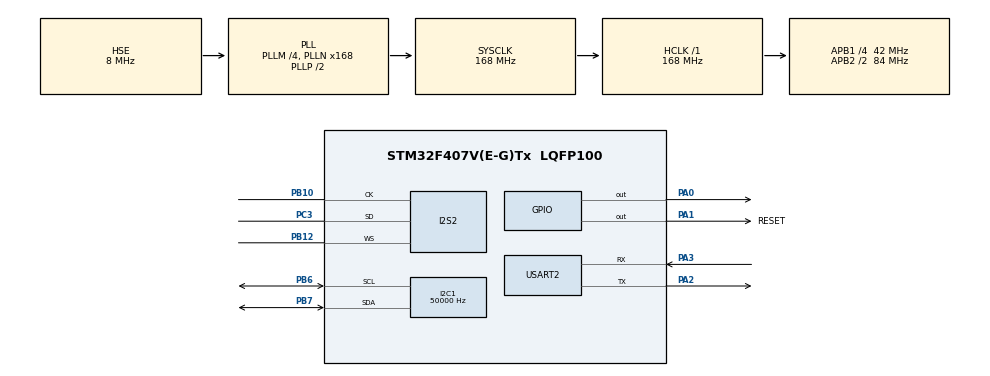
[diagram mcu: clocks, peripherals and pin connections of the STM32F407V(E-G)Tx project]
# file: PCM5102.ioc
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Dma.Request0=SPI2_TX
Dma.SPI2_TX.0.Direction=DMA_MEMORY_TO_PERIPH
Dma.SPI2_TX.0.FIFOMode=DMA_FIFOMODE_DISABLE
Dma.SPI2_TX.0.Instance=DMA1_Stream4
Dma.SPI2_TX.0.MemDataAlignment=DMA_MDATAALIGN_HALFWORD
Dma.SPI2_TX.0.MemInc=DMA_MINC_ENABLE
Dma.SPI2_TX.0.Mode=DMA_CIRCULAR
Dma.SPI2_TX.0.PeriphDataAlignment=DMA_PDATAALIGN_HALFWORD
Dma.SPI2_TX.0.PeriphInc=DMA_PINC_DISABLE
Dma.SPI2_TX.0.Priority=DMA_PRIORITY_LOW
I2C1.ClockSpeed=50000
I2S2.AudioFreq=I2S_AUDIOFREQ_96K
I2S2.CPOL=I2S_CPOL_HIGH
I2S2.ErrorAudioFreq=1.72 %
I2S2.FullDuplexMode=I2S_FULLDUPLEXMODE_DISABLE
I2S2.Instance=SPI$Index
I2S2.RealAudioFreq=97.656 KHz
I2S2.VirtualMode=I2S_MODE_MASTER
Mcu.Family=STM32F4
Mcu.Name=STM32F407V(E-G)Tx
Mcu.Package=LQFP100
NVIC.DMA1_Stream4_IRQn=true\:0\:0\:false\:false\:true\:false\:true\:true
NVIC.PriorityGroup=NVIC_PRIORITYGROUP_4
NVIC.SPI2_IRQn=true\:0\:0\:false\:false\:true\:true\:true\:true
PA0-WKUP.Signal=GPIO_Output
PA1.GPIO_Label=RESET
PA1.Signal=GPIO_Output
PA13.Mode=Serial_Wire
PA13.Signal=SYS_JTMS-SWDIO
PA14.Mode=Serial_Wire
PA14.Signal=SYS_JTCK-SWCLK
PA2.Mode=Asynchronous
PA2.Signal=USART2_TX
PA3.Mode=Asynchronous
PA3.Signal=USART2_RX
PB10.Mode=Half_Duplex_Master
PB10.Signal=I2S2_CK
PB12.Mode=Half_Duplex_Master
PB12.Signal=I2S2_WS
PB6.GPIO_Pu=GPIO_PULLUP
PB6.Mode=I2C
PB6.Signal=I2C1_SCL
PB7.GPIO_Pu=GPIO_PULLUP
PB7.Mode=I2C
PB7.Signal=I2C1_SDA
PC14-OSC32_IN.Mode=LSE-External-Oscillator
PC14-OSC32_IN.Signal=RCC_OSC32_IN
PC15-OSC32_OUT.Mode=LSE-External-Oscillator
PC15-OSC32_OUT.Signal=RCC_OSC32_OUT
PC3.Mode=Half_Duplex_Master
PC3.Signal=I2S2_SD
PH0-OSC_IN.Mode=HSE-External-Oscillator
PH0-OSC_IN.Signal=RCC_OSC_IN
PH1-OSC_OUT.Mode=HSE-External-Oscillator
PH1-OSC_OUT.Signal=RCC_OSC_OUT
ProjectManager.HeapSize=0x200
ProjectManager.StackSize=0x400
ProjectManager.TargetToolchain=MDK-ARM V5.32
RCC.48MHZClocksFreq_Value=84000000
RCC.AHBFreq_Value=168000000
RCC.APB1CLKDivider=RCC_HCLK_DIV4
RCC.APB1Freq_Value=42000000
RCC.APB1TimFreq_Value=84000000
RCC.APB2CLKDivider=RCC_HCLK_DIV2
RCC.APB2Freq_Value=84000000
RCC.APB2TimFreq_Value=168000000
RCC.CortexFreq_Value=168000000
RCC.HCLKFreq_Value=168000000
RCC.HSE_VALUE=8000000
RCC.HSI_VALUE=16000000
RCC.PLLI2SN=50
RCC.PLLM=4
RCC.PLLN=168
RCC.PLLSourceVirtual=RCC_PLLSOURCE_HSE
RCC.SYSCLKFreq_VALUE=168000000
RCC.SYSCLKSource=RCC_SYSCLKSOURCE_PLLCLK
RCC.VCOOutputFreq_Value=336000000
USART2.VirtualMode=VM_ASYNC
board=custom

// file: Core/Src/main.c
/* USER CODE BEGIN Header */
/**
  ******************************************************************************
  * @file           : main.c
  * @brief          : Main program body
  ******************************************************************************
  * @attention
  *
  * Copyright (c) 2026 STMicroelectronics.
  * All rights reserved.
  *
  * This software is licensed under terms that can be found in the LICENSE file
  * in the root directory of this software component.
  * If no LICENSE file comes with this software, it is provided AS-IS.
  *
  ******************************************************************************
  */
/* USER CODE END Header */
#include "main.h"
#include "dma.h"
#include "i2c.h"
#include "i2s.h"
#include "usart.h"
#include "gpio.h"

/* USER CODE BEGIN Includes */
#include "audio_out.h"
#include "sweep.h"
#include "cs43131.h"
#include <stdio.h>
#include "stdarg.h"
/* USER CODE END Includes */

void SystemClock_Config(void);

int main(void)
{

  /* MCU Configuration--------------------------------------------------------*/

  /* Reset of all peripherals, Initializes the Flash interface and the Systick. */
  HAL_Init();

  /* Configure the system clock */
  SystemClock_Config();

  /* Initialize all configured peripherals */
  MX_GPIO_Init();
  MX_DMA_Init();
  MX_I2S2_Init();
  MX_I2C1_Init();
  MX_USART2_UART_Init();
  /* USER CODE BEGIN 2 */

UART2_Printf("init\r\n");
  if (CS43131_Init() == 0) {
      UART2_Printf("fail\r\n");
  }

  Sweep_Init();
  Sweep_Start();

  /* USER CODE END 2 */

  /* Infinite loop */
  /* USER CODE BEGIN WHILE */
  while (1)
  {    if (g_sweep_cycle_done) {
        g_sweep_cycle_done = 0;
        UART2_Printf("restart\r\n");
    }

    /* USER CODE END WHILE */

  }
}

void SystemClock_Config(void)
{
  RCC_OscInitTypeDef RCC_OscInitStruct = {0};
  RCC_ClkInitTypeDef RCC_ClkInitStruct = {0};

  /** Configure the main internal regulator output voltage
  */
  __HAL_RCC_PWR_CLK_ENABLE();
  __HAL_PWR_VOLTAGESCALING_CONFIG(PWR_REGULATOR_VOLTAGE_SCALE1);

  /** Initializes the RCC Oscillators according to the specified parameters
  * in the RCC_OscInitTypeDef structure.
  */
  RCC_OscInitStruct.OscillatorType = RCC_OSCILLATORTYPE_HSE;
  RCC_OscInitStruct.HSEState = RCC_HSE_ON;
  RCC_OscInitStruct.PLL.PLLState = RCC_PLL_ON;
  RCC_OscInitStruct.PLL.PLLSource = RCC_PLLSOURCE_HSE;
  RCC_OscInitStruct.PLL.PLLM = 4;
  RCC_OscInitStruct.PLL.PLLN = 168;
  RCC_OscInitStruct.PLL.PLLP = RCC_PLLP_DIV2;
  RCC_OscInitStruct.PLL.PLLQ = 4;
  if (HAL_RCC_OscConfig(&RCC_OscInitStruct) != HAL_OK)
  {
    Error_Handler();
  }

  /** Initializes the CPU, AHB and APB buses clocks
  */
  RCC_ClkInitStruct.ClockType = RCC_CLOCKTYPE_HCLK|RCC_CLOCKTYPE_SYSCLK
                              |RCC_CLOCKTYPE_PCLK1|RCC_CLOCKTYPE_PCLK2;
  RCC_ClkInitStruct.SYSCLKSource = RCC_SYSCLKSOURCE_PLLCLK;
  RCC_ClkInitStruct.AHBCLKDivider = RCC_SYSCLK_DIV1;
  RCC_ClkInitStruct.APB1CLKDivider = RCC_HCLK_DIV4;
  RCC_ClkInitStruct.APB2CLKDivider = RCC_HCLK_DIV2;

  if (HAL_RCC_ClockConfig(&RCC_ClkInitStruct, FLASH_LATENCY_5) != HAL_OK)
  {
    Error_Handler();
  }
}

/* USER CODE BEGIN 4 */

int fputc(int ch, FILE *f) {
HAL_UART_Transmit(&huart2, (uint8_t *)&ch, 1, 0xffff);
return ch;
}

/* USER CODE END 4 */

void Error_Handler(void)
{
  __disable_irq();
  while (1)
  {
  }
}
